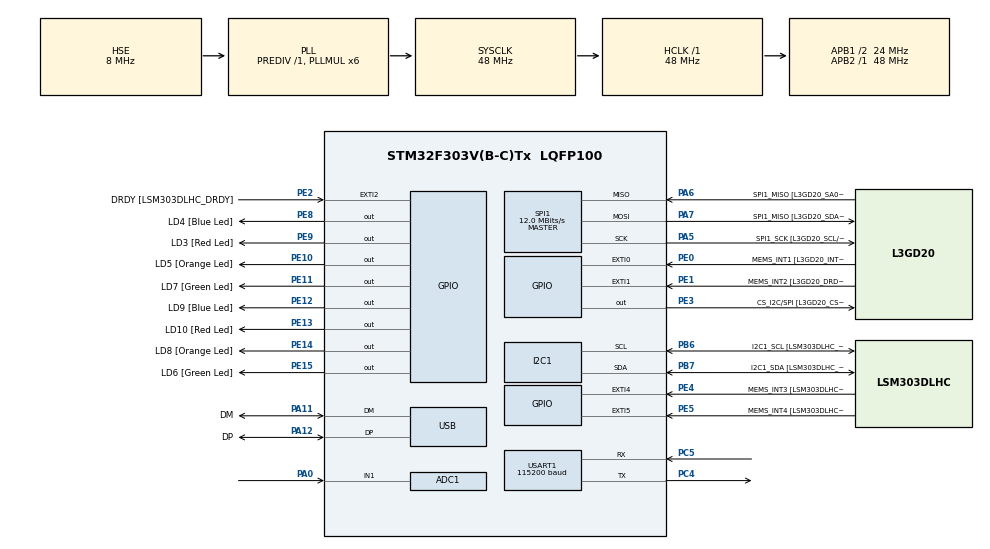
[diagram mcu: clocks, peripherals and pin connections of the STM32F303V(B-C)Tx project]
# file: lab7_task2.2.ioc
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ADC1.Channel-0\#ChannelRegularConversion=ADC_CHANNEL_1
ADC1.ContinuousConvMode=ENABLE
ADC1.NbrOfConversionFlag=1
ADC1.Offset-0\#ChannelRegularConversion=0
ADC1.OffsetNumber-0\#ChannelRegularConversion=ADC_OFFSET_NONE
ADC1.Rank-0\#ChannelRegularConversion=1
ADC1.SamplingTime-0\#ChannelRegularConversion=ADC_SAMPLETIME_1CYCLE_5
ADC1.SamplingTimeOPAMP-0\#ChannelRegularConversion=ADC_SAMPLETIME_19CYCLES_5
ADC1.master=1
I2C1.Timing=0x2000090E
I2C1.Timing-I2C=0x2000090E
Mcu.Family=STM32F3
Mcu.Name=STM32F303V(B-C)Tx
Mcu.Package=LQFP100
NVIC.ADC1_2_IRQn=true\:0\:0\:false\:false\:true\:true\:true\:true
NVIC.PriorityGroup=NVIC_PRIORITYGROUP_0
NVIC.USB_LP_CAN_RX0_IRQn=true\:0\:0\:false\:false\:true\:false\:true\:true
PA0.Mode=IN1-Single-Ended
PA0.Signal=ADC1_IN1
PA11.GPIO_Label=DM
PA11.Mode=Device
PA11.Signal=USB_DM
PA12.GPIO_Label=DP
PA12.Mode=Device
PA12.Signal=USB_DP
PA13.GPIO_Label=SWDIO
PA13.Mode=Serial_Wire
PA13.Signal=SYS_JTMS-SWDIO
PA14.GPIO_Label=SWCLK
PA14.Mode=Serial_Wire
PA14.Signal=SYS_JTCK-SWCLK
PA5.GPIO_Label=SPI1_SCK [L3GD20_SCL/SPC]
PA5.Mode=Full_Duplex_Master
PA5.Signal=SPI1_SCK
PA6.GPIO_Label=SPI1_MISO [L3GD20_SA0/SDO]
PA6.Mode=Full_Duplex_Master
PA6.Signal=SPI1_MISO
PA7.GPIO_Label=SPI1_MISO [L3GD20_SDA/SDI/SDO]
PA7.Mode=Full_Duplex_Master
PA7.Signal=SPI1_MOSI
PB3.GPIO_Label=SWO
PB3.Signal=SYS_JTDO-TRACESWO
PB6.GPIO_Label=I2C1_SCL [LSM303DLHC_SCL]
PB6.GPIO_Pu=GPIO_PULLUP
PB6.Mode=I2C
PB6.Signal=I2C1_SCL
PB7.GPIO_Label=I2C1_SDA [LSM303DLHC_SDA]
PB7.GPIO_Pu=GPIO_PULLUP
PB7.Mode=I2C
PB7.Signal=I2C1_SDA
PC14-OSC32_IN.GPIO_Label=OSC32_IN
PC14-OSC32_IN.Signal=RCC_OSC32_IN
PC15-OSC32_OUT.GPIO_Label=OSC32_OUT
PC15-OSC32_OUT.Signal=RCC_OSC32_OUT
PC4.Mode=Asynchronous
PC4.Signal=USART1_TX
PC5.Mode=Asynchronous
PC5.Signal=USART1_RX
PE0.GPIO_Label=MEMS_INT1 [L3GD20_INT1]
PE0.GPIO_ModeDefaultEXTI=GPIO_MODE_EVT_RISING
PE0.Signal=GPXTI0
PE1.GPIO_Label=MEMS_INT2 [L3GD20_DRDY/INT2]
PE1.GPIO_ModeDefaultEXTI=GPIO_MODE_EVT_RISING
PE1.Signal=GPXTI1
PE10.GPIO_Label=LD5 [Orange Led]
PE10.Signal=GPIO_Output
PE11.GPIO_Label=LD7 [Green Led]
PE11.Signal=GPIO_Output
PE12.GPIO_Label=LD9 [Blue Led]
PE12.Signal=GPIO_Output
PE13.GPIO_Label=LD10 [Red Led]
PE13.Signal=GPIO_Output
PE14.GPIO_Label=LD8 [Orange Led]
PE14.Signal=GPIO_Output
PE15.GPIO_Label=LD6 [Green Led]
PE15.Signal=GPIO_Output
PE2.GPIO_Label=DRDY [LSM303DLHC_DRDY]
PE2.GPIO_ModeDefaultEXTI=GPIO_MODE_EVT_RISING
PE2.Signal=GPXTI2
PE3.GPIO_Label=CS_I2C/SPI [L3GD20_CS_I2C/SPI]
PE3.Signal=GPIO_Output
PE4.GPIO_Label=MEMS_INT3 [LSM303DLHC_INT1]
PE4.GPIO_ModeDefaultEXTI=GPIO_MODE_EVT_RISING
PE4.Signal=GPXTI4
PE5.GPIO_Label=MEMS_INT4 [LSM303DLHC_INT2]
PE5.GPIO_ModeDefaultEXTI=GPIO_MODE_EVT_RISING
PE5.Signal=GPXTI5
PE8.GPIO_Label=LD4 [Blue Led]
PE8.Signal=GPIO_Output
PE9.GPIO_Label=LD3 [Red Led]
PE9.Signal=GPIO_Output
PF0-OSC_IN.GPIO_Label=OSC_IN
PF0-OSC_IN.Mode=HSE-External-Clock-Source
PF0-OSC_IN.Signal=RCC_OSC_IN
PF1-OSC_OUT.GPIO_Label=OSC_OUT
PF1-OSC_OUT.Signal=RCC_OSC_OUT
ProjectManager.HeapSize=0x200
ProjectManager.StackSize=0x400
ProjectManager.TargetToolchain=CMake
RCC.AHBFreq_Value=48000000
RCC.APB1CLKDivider=RCC_HCLK_DIV2
RCC.APB1Freq_Value=24000000
RCC.APB1TimFreq_Value=48000000
RCC.APB2Freq_Value=48000000
RCC.APB2TimFreq_Value=48000000
RCC.CortexFreq_Value=48000000
RCC.HCLKFreq_Value=48000000
RCC.HSE_VALUE=8000000
RCC.HSI_VALUE=8000000
RCC.LSE_VALUE=32768
RCC.PLLMUL=RCC_PLL_MUL6
RCC.SYSCLKFreq_VALUE=48000000
RCC.SYSCLKSourceVirtual=RCC_SYSCLKSOURCE_PLLCLK
RCC.USBFreq_Value=48000000
SPI1.BaudRatePrescaler=SPI_BAUDRATEPRESCALER_4
SPI1.BaudRatePrescaler-Full_Duplex_Master=SPI_BAUDRATEPRESCALER_2
SPI1.CalculateBaudRate=12.0 MBits/s
SPI1.CalculateBaudRate-Full_Duplex_Master=24.0 MBits/s
SPI1.Direction=SPI_DIRECTION_2LINES
SPI1.Mode=SPI_MODE_MASTER
SPI1.Mode-Full_Duplex_Master=SPI_MODE_MASTER
SPI1.VirtualType=VM_MASTER
STMicroelectronics.X-CUBE-ALGOBUILD.1.4.0.LibraryCcDSPOoLibraryJjDSPOoLibrary=true
USART1.BaudRate=115200
USART1.VirtualMode-Asynchronous=VM_ASYNC
USB_DEVICE.CLASS_NAME_FS=CDC
USB_DEVICE.VirtualMode=Cdc
USB_DEVICE.VirtualModeFS=Cdc_FS
VP_STMicroelectronics.X-CUBE-ALGOBUILD_VS_DSPOoLibraryJjLibrary_1.4.0_1.4.0.Mode=DSPOoLibraryJjLibrary
VP_USB_DEVICE_VS_USB_DEVICE_CDC_FS.Mode=CDC_FS
board=STM32F3DISCOVERY

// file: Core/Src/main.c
/* USER CODE BEGIN Header */
/**
  ******************************************************************************
  * @file           : main.c
  * @brief          : Main program body
  ******************************************************************************
  * @attention
  *
  * Copyright (c) 2025 STMicroelectronics.
  * All rights reserved.
  *
  * This software is licensed under terms that can be found in the LICENSE file
  * in the root directory of this software component.
  * If no LICENSE file comes with this software, it is provided AS-IS.
  *
  ******************************************************************************
  */
/* USER CODE END Header */
#include "main.h"
#include "usb_device.h"

/* USER CODE BEGIN Includes */
#include <stdio.h>
#include <string.h>
/* USER CODE END Includes */

/* USER CODE BEGIN PV */
volatile uint32_t adc = 0;
volatile uint32_t filtered = 0;

static uint32_t fbuffer[10] = {0};  // 10-point moving avg buffer
static uint8_t  findex = 0;
/* USER CODE END PV */

ADC_HandleTypeDef hadc1;

I2C_HandleTypeDef hi2c1;

SPI_HandleTypeDef hspi1;

UART_HandleTypeDef huart1;

void SystemClock_Config(void);
static void MX_GPIO_Init(void);
static void MX_ADC1_Init(void);
static void MX_I2C1_Init(void);
static void MX_SPI1_Init(void);
static void MX_USART1_UART_Init(void);

int main(void)
{

  /* MCU Configuration--------------------------------------------------------*/

  /* Reset of all peripherals, Initializes the Flash interface and the Systick. */
  HAL_Init();

  /* Configure the system clock */
  SystemClock_Config();

  /* Initialize all configured peripherals */
  MX_GPIO_Init();
  MX_ADC1_Init();
  MX_I2C1_Init();
  MX_SPI1_Init();
  MX_USART1_UART_Init();
  MX_USB_DEVICE_Init();
  /* USER CODE BEGIN 2 */
  HAL_ADC_Start_IT(&hadc1);
  /* USER CODE END 2 */

  /* Infinite loop */
  /* USER CODE BEGIN WHILE */
  while (1)
  {

  }
  /* USER CODE END 3 */
}

void SystemClock_Config(void)
{
  RCC_OscInitTypeDef RCC_OscInitStruct = {0};
  RCC_ClkInitTypeDef RCC_ClkInitStruct = {0};
  RCC_PeriphCLKInitTypeDef PeriphClkInit = {0};

  /** Initializes the RCC Oscillators according to the specified parameters
  * in the RCC_OscInitTypeDef structure.
  */
  RCC_OscInitStruct.OscillatorType = RCC_OSCILLATORTYPE_HSI|RCC_OSCILLATORTYPE_HSE;
  RCC_OscInitStruct.HSEState = RCC_HSE_BYPASS;
  RCC_OscInitStruct.HSEPredivValue = RCC_HSE_PREDIV_DIV1;
  RCC_OscInitStruct.HSIState = RCC_HSI_ON;
  RCC_OscInitStruct.HSICalibrationValue = RCC_HSICALIBRATION_DEFAULT;
  RCC_OscInitStruct.PLL.PLLState = RCC_PLL_ON;
  RCC_OscInitStruct.PLL.PLLSource = RCC_PLLSOURCE_HSE;
  RCC_OscInitStruct.PLL.PLLMUL = RCC_PLL_MUL6;
  if (HAL_RCC_OscConfig(&RCC_OscInitStruct) != HAL_OK)
  {
    Error_Handler();
  }

  /** Initializes the CPU, AHB and APB buses clocks
  */
  RCC_ClkInitStruct.ClockType = RCC_CLOCKTYPE_HCLK|RCC_CLOCKTYPE_SYSCLK
                              |RCC_CLOCKTYPE_PCLK1|RCC_CLOCKTYPE_PCLK2;
  RCC_ClkInitStruct.SYSCLKSource = RCC_SYSCLKSOURCE_PLLCLK;
  RCC_ClkInitStruct.AHBCLKDivider = RCC_SYSCLK_DIV1;
  RCC_ClkInitStruct.APB1CLKDivider = RCC_HCLK_DIV2;
  RCC_ClkInitStruct.APB2CLKDivider = RCC_HCLK_DIV1;

  if (HAL_RCC_ClockConfig(&RCC_ClkInitStruct, FLASH_LATENCY_1) != HAL_OK)
  {
    Error_Handler();
  }
  PeriphClkInit.PeriphClockSelection = RCC_PERIPHCLK_USB|RCC_PERIPHCLK_USART1
                              |RCC_PERIPHCLK_I2C1|RCC_PERIPHCLK_ADC12;
  PeriphClkInit.Usart1ClockSelection = RCC_USART1CLKSOURCE_PCLK2;
  PeriphClkInit.Adc12ClockSelection = RCC_ADC12PLLCLK_DIV1;
  PeriphClkInit.I2c1ClockSelection = RCC_I2C1CLKSOURCE_HSI;
  PeriphClkInit.USBClockSelection = RCC_USBCLKSOURCE_PLL;
  if (HAL_RCCEx_PeriphCLKConfig(&PeriphClkInit) != HAL_OK)
  {
    Error_Handler();
  }
}

static void MX_ADC1_Init(void)
{

  ADC_MultiModeTypeDef multimode = {0};
  ADC_ChannelConfTypeDef sConfig = {0};

  /** Common config
  */
  hadc1.Instance = ADC1;
  hadc1.Init.ClockPrescaler = ADC_CLOCK_ASYNC_DIV1;
  hadc1.Init.Resolution = ADC_RESOLUTION_12B;
  hadc1.Init.ScanConvMode = ADC_SCAN_DISABLE;
  hadc1.Init.ContinuousConvMode = ENABLE;
  hadc1.Init.DiscontinuousConvMode = DISABLE;
  hadc1.Init.ExternalTrigConvEdge = ADC_EXTERNALTRIGCONVEDGE_NONE;
  hadc1.Init.ExternalTrigConv = ADC_SOFTWARE_START;
  hadc1.Init.DataAlign = ADC_DATAALIGN_RIGHT;
  hadc1.Init.NbrOfConversion = 1;
  hadc1.Init.DMAContinuousRequests = DISABLE;
  hadc1.Init.EOCSelection = ADC_EOC_SINGLE_CONV;
  hadc1.Init.LowPowerAutoWait = DISABLE;
  hadc1.Init.Overrun = ADC_OVR_DATA_OVERWRITTEN;
  if (HAL_ADC_Init(&hadc1) != HAL_OK)
  {
    Error_Handler();
  }

  /** Configure the ADC multi-mode
  */
  multimode.Mode = ADC_MODE_INDEPENDENT;
  if (HAL_ADCEx_MultiModeConfigChannel(&hadc1, &multimode) != HAL_OK)
  {
    Error_Handler();
  }

  /** Configure Regular Channel
  */
  sConfig.Channel = ADC_CHANNEL_1;
  sConfig.Rank = ADC_REGULAR_RANK_1;
  sConfig.SingleDiff = ADC_SINGLE_ENDED;
  sConfig.SamplingTime = ADC_SAMPLETIME_1CYCLE_5;
  sConfig.OffsetNumber = ADC_OFFSET_NONE;
  sConfig.Offset = 0;
  if (HAL_ADC_ConfigChannel(&hadc1, &sConfig) != HAL_OK)
  {
    Error_Handler();
  }

}

static void MX_I2C1_Init(void)
{

  hi2c1.Instance = I2C1;
  hi2c1.Init.Timing = 0x00201D2B;
  hi2c1.Init.OwnAddress1 = 0;
  hi2c1.Init.AddressingMode = I2C_ADDRESSINGMODE_7BIT;
  hi2c1.Init.DualAddressMode = I2C_DUALADDRESS_DISABLE;
  hi2c1.Init.OwnAddress2 = 0;
  hi2c1.Init.OwnAddress2Masks = I2C_OA2_NOMASK;
  hi2c1.Init.GeneralCallMode = I2C_GENERALCALL_DISABLE;
  hi2c1.Init.NoStretchMode = I2C_NOSTRETCH_DISABLE;
  if (HAL_I2C_Init(&hi2c1) != HAL_OK)
  {
    Error_Handler();
  }

  /** Configure Analogue filter
  */
  if (HAL_I2CEx_ConfigAnalogFilter(&hi2c1, I2C_ANALOGFILTER_ENABLE) != HAL_OK)
  {
    Error_Handler();
  }

  /** Configure Digital filter
  */
  if (HAL_I2CEx_ConfigDigitalFilter(&hi2c1, 0) != HAL_OK)
  {
    Error_Handler();
  }

}

static void MX_SPI1_Init(void)
{

  /* SPI1 parameter configuration*/
  hspi1.Instance = SPI1;
  hspi1.Init.Mode = SPI_MODE_MASTER;
  hspi1.Init.Direction = SPI_DIRECTION_2LINES;
  hspi1.Init.DataSize = SPI_DATASIZE_4BIT;
  hspi1.Init.CLKPolarity = SPI_POLARITY_LOW;
  hspi1.Init.CLKPhase = SPI_PHASE_1EDGE;
  hspi1.Init.NSS = SPI_NSS_SOFT;
  hspi1.Init.BaudRatePrescaler = SPI_BAUDRATEPRESCALER_4;
  hspi1.Init.FirstBit = SPI_FIRSTBIT_MSB;
  hspi1.Init.TIMode = SPI_TIMODE_DISABLE;
  hspi1.Init.CRCCalculation = SPI_CRCCALCULATION_DISABLE;
  hspi1.Init.CRCPolynomial = 7;
  hspi1.Init.CRCLength = SPI_CRC_LENGTH_DATASIZE;
  hspi1.Init.NSSPMode = SPI_NSS_PULSE_ENABLE;
  if (HAL_SPI_Init(&hspi1) != HAL_OK)
  {
    Error_Handler();
  }

}

static void MX_USART1_UART_Init(void)
{

  huart1.Instance = USART1;
  huart1.Init.BaudRate = 115200;
  huart1.Init.WordLength = UART_WORDLENGTH_8B;
  huart1.Init.StopBits = UART_STOPBITS_1;
  huart1.Init.Parity = UART_PARITY_NONE;
  huart1.Init.Mode = UART_MODE_TX_RX;
  huart1.Init.HwFlowCtl = UART_HWCONTROL_NONE;
  huart1.Init.OverSampling = UART_OVERSAMPLING_16;
  huart1.Init.OneBitSampling = UART_ONE_BIT_SAMPLE_DISABLE;
  huart1.AdvancedInit.AdvFeatureInit = UART_ADVFEATURE_NO_INIT;
  if (HAL_UART_Init(&huart1) != HAL_OK)
  {
    Error_Handler();
  }

}

static void MX_GPIO_Init(void)
{
  GPIO_InitTypeDef GPIO_InitStruct = {0};

  /* GPIO Ports Clock Enable */
  __HAL_RCC_GPIOE_CLK_ENABLE();
  __HAL_RCC_GPIOC_CLK_ENABLE();
  __HAL_RCC_GPIOF_CLK_ENABLE();
  __HAL_RCC_GPIOA_CLK_ENABLE();
  __HAL_RCC_GPIOB_CLK_ENABLE();

  /*Configure GPIO pin Output Level */
  HAL_GPIO_WritePin(GPIOE, CS_I2C_SPI_Pin|LD4_Pin|LD3_Pin|LD5_Pin
                          |LD7_Pin|LD9_Pin|LD10_Pin|LD8_Pin
                          |LD6_Pin, GPIO_PIN_RESET);

  /*Configure GPIO pins : DRDY_Pin MEMS_INT3_Pin MEMS_INT4_Pin MEMS_INT1_Pin
                           MEMS_INT2_Pin */
  GPIO_InitStruct.Pin = DRDY_Pin|MEMS_INT3_Pin|MEMS_INT4_Pin|MEMS_INT1_Pin
                          |MEMS_INT2_Pin;
  GPIO_InitStruct.Mode = GPIO_MODE_EVT_RISING;
  GPIO_InitStruct.Pull = GPIO_NOPULL;
  HAL_GPIO_Init(GPIOE, &GPIO_InitStruct);

  /*Configure GPIO pins : CS_I2C_SPI_Pin LD4_Pin LD3_Pin LD5_Pin
                           LD7_Pin LD9_Pin LD10_Pin LD8_Pin
                           LD6_Pin */
  GPIO_InitStruct.Pin = CS_I2C_SPI_Pin|LD4_Pin|LD3_Pin|LD5_Pin
                          |LD7_Pin|LD9_Pin|LD10_Pin|LD8_Pin
                          |LD6_Pin;
  GPIO_InitStruct.Mode = GPIO_MODE_OUTPUT_PP;
  GPIO_InitStruct.Pull = GPIO_NOPULL;
  GPIO_InitStruct.Speed = GPIO_SPEED_FREQ_LOW;
  HAL_GPIO_Init(GPIOE, &GPIO_InitStruct);

}

/* USER CODE BEGIN 4 */
void HAL_ADC_ConvCpltCallback(ADC_HandleTypeDef* hadc)
{
    if (hadc->Instance == ADC1)
    {
        // Read ADC value (12-bit)
        adc = HAL_ADC_GetValue(hadc);

        // Update circular buffer
        fbuffer[findex] = adc;
        findex = (findex + 1) % 10;

        // Compute 10-point moving average
        uint32_t sum = 0;
        for (int i = 0; i < 10; i++)
            sum += fbuffer[i];
        filtered = sum / 10;

        // Transmit both values via UART as: "raw,filtered\r\n"
        char msg[30];
        sprintf(msg, "%lu,%lu\r\n", adc, filtered);
        HAL_UART_Transmit(&huart1, (uint8_t*)msg, strlen(msg), HAL_MAX_DELAY);
    }
}
/* USER CODE END 4 */

void Error_Handler(void)
{
  __disable_irq();
  while (1)
  {
  }
}
